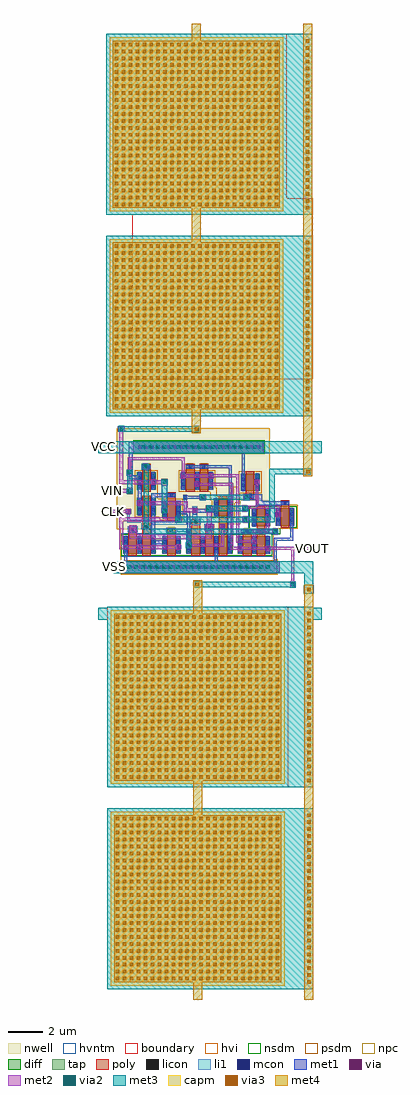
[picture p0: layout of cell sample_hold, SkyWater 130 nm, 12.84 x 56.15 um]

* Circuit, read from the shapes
.subckt sample_hold CLK VCC VIN VOUT VSS
XM1 n1 n2 VSS VSS sky130_fd_pr__nfet_g5v0d10v5 w=1 l=0.5
XM2 n3 CLK n1 VSS sky130_fd_pr__nfet_g5v0d10v5 w=1 l=0.5
XM3 n1 n4 n3 VSS sky130_fd_pr__nfet_g5v0d10v5 w=1 l=0.5
XM4 n5 VCC n4 VSS sky130_fd_pr__nfet_g5v0d10v5 w=1 l=0.5
XM5 VSS n2 n5 VSS sky130_fd_pr__nfet_g5v0d10v5 w=1 l=0.5
XM6 n6 n4 VSS VSS sky130_fd_pr__nfet_g5v0d10v5 w=1 l=0.5
XM7 VIN n4 VOUT VSS sky130_fd_pr__nfet_g5v0d10v5 w=1 l=0.5 m=2
XM8 VIN n4 n1 VSS sky130_fd_pr__nfet_g5v0d10v5 w=1 l=0.5
XM9 VSS CLK n2 VSS sky130_fd_pr__nfet_g5v0d10v5 w=1 l=0.5
XM10 n3 CLK VCC VCC sky130_fd_pr__pfet_g5v0d10v5 w=1 l=0.5
XM11 n7 n4 VCC VCC sky130_fd_pr__pfet_g5v0d10v5 w=1 l=0.5
XM12 n4 n3 n7 VCC sky130_fd_pr__pfet_g5v0d10v5 w=1 l=0.5
XM13 VOUT n6 VIN VCC sky130_fd_pr__pfet_g5v0d10v5 w=1 l=0.5 m=2
XM14 n6 n4 VCC VCC sky130_fd_pr__pfet_g5v0d10v5 w=1 l=0.5
XM15 n2 CLK VCC VCC sky130_fd_pr__pfet_g5v0d10v5 w=1 l=0.5
XC16 n7 n1 sky130_fd_pr__cap_mim_m3_1 w=10 l=10 m=2
XC17 VOUT VSS sky130_fd_pr__cap_mim_m3_1 w=10 l=10 m=2
.ends

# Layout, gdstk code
from math import pi, radians
import gdstk
lib = gdstk.Library(unit=1e-6, precision=1e-09)
def R(c, l, rs):  # rectangles x0, y0, x1, y1
    for r in rs: c.add(gdstk.rectangle(r[:2], r[2:], *l))
def A(c, l, x, y, w, h, nx, ny, dx, dy):  # array of equal rectangles
    R(c, l, [(x+i*dx, y+j*dy, x+i*dx+w, y+j*dy+h) for i in range(nx) for j in range(ny)])
nwell = (64, 20)
diff = (65, 20)
tap = (65, 44)
poly = (66, 20)
licon = (66, 44)
li1 = (67, 20)
mcon = (67, 44)
met1 = (68, 20)
via = (68, 44)
met2 = (69, 20)
via2 = (69, 44)
met3 = (70, 20)
via3 = (70, 44)
met4 = (71, 20)
hvi = (75, 20)
capm = (89, 44)
nsdm = (93, 44)
psdm = (94, 20)
npc = (95, 20)
hvntm = (125, 20)
boundary = (235, 4)

sky130_fd_pr__cap_mim_m3 = lib.new_cell('sky130_fd_pr__cap_mim_m3_1_3DGTNZ')
R(sky130_fd_pr__cap_mim_m3, met3, [(-5.93,-11,5.93,-0.6), (-5.93,0.6,5.93,11)])
A(sky130_fd_pr__cap_mim_m3, via3, 5.57, -10.7, 0.2, 0.2, 1, 25, 0, 0.4)
A(sky130_fd_pr__cap_mim_m3, via3, -5.43, -10.5, 0.2, 0.2, 24, 24, 0.4, 0.4)
A(sky130_fd_pr__cap_mim_m3, via3, 5.57, 0.9, 0.2, 0.2, 1, 25, 0, 0.4)
A(sky130_fd_pr__cap_mim_m3, via3, -5.43, 1.1, 0.2, 0.2, 24, 24, 0.4, 0.4)
R(sky130_fd_pr__cap_mim_m3, met4, [(-0.99,-11.6,-0.47,-10.605), (5.41,-11.6,5.93,11.6), (-5.535,-10.605,4.075,-0.995), (-0.99,-0.995,-0.47,0.995), (-5.535,0.995,4.075,10.605), (-0.99,10.605,-0.47,11.6)])
R(sky130_fd_pr__cap_mim_m3, capm, [(-5.73,-10.8,4.27,-0.8), (-5.73,0.8,4.27,10.8)])
R(sky130_fd_pr__cap_mim_m3, boundary, [(-5.93,0.6,4.47,11)])

sky130_fd_pr__nfet_g5v0d = lib.new_cell('sky130_fd_pr__nfet_g5v0d10v5_SACDK5')
R(sky130_fd_pr__nfet_g5v0d, diff, [(-0.54,-0.5,0.54,0.5)])
R(sky130_fd_pr__nfet_g5v0d, poly, [(-0.25,-0.63,0.25,0.63)])
A(sky130_fd_pr__nfet_g5v0d, licon, -0.48, -0.425, 0.17, 0.17, 1, 3, 0, 0.34)
A(sky130_fd_pr__nfet_g5v0d, licon, 0.31, -0.425, 0.17, 0.17, 1, 3, 0, 0.34)
R(sky130_fd_pr__nfet_g5v0d, li1, [(-0.48,-0.52,-0.31,0.52), (0.31,-0.52,0.48,0.52)])
R(sky130_fd_pr__nfet_g5v0d, mcon, [(-0.48,-0.265,-0.31,-0.095), (0.31,-0.265,0.48,-0.095), (-0.48,0.095,-0.31,0.265), (0.31,0.095,0.48,0.265)])
R(sky130_fd_pr__nfet_g5v0d, met1, [(-0.51,-0.5,-0.28,0.5), (0.28,-0.5,0.51,0.5)])
R(sky130_fd_pr__nfet_g5v0d, hvi, [(-0.725,-0.685,0.725,0.685)])
R(sky130_fd_pr__nfet_g5v0d, nsdm, [(-0.665,-0.625,0.665,0.625)])
R(sky130_fd_pr__nfet_g5v0d, hvntm, [(-0.725,-0.685,0.725,0.685)])

c_sky130_fd_pr__nfet_g5v0d = lib.new_cell('sky130_fd_pr__nfet_g5v0d10v5_LWV9XU')
R(c_sky130_fd_pr__nfet_g5v0d, diff, [(-0.935,-0.655,0.935,0.345)])
R(c_sky130_fd_pr__nfet_g5v0d, poly, [(-0.645,-0.785,-0.145,0.785), (0.145,-0.785,0.645,0.785)])
A(c_sky130_fd_pr__nfet_g5v0d, licon, -0.875, -0.58, 0.17, 0.17, 3, 3, 0.79, 0.34)
R(c_sky130_fd_pr__nfet_g5v0d, licon, [(-0.48,0.535,-0.31,0.705), (0.31,0.535,0.48,0.705)])
A(c_sky130_fd_pr__nfet_g5v0d, li1, -0.875, -0.675, 0.17, 1.04, 3, 1, 0.79, 0)
R(c_sky130_fd_pr__nfet_g5v0d, li1, [(-0.645,0.535,-0.145,0.705), (0.145,0.535,0.645,0.705)])
A(c_sky130_fd_pr__nfet_g5v0d, mcon, -0.875, -0.42, 0.17, 0.17, 3, 2, 0.79, 0.36)
R(c_sky130_fd_pr__nfet_g5v0d, mcon, [(-0.48,0.535,-0.31,0.705), (0.31,0.535,0.48,0.705)])
A(c_sky130_fd_pr__nfet_g5v0d, met1, -0.905, -0.655, 0.23, 1, 3, 1, 0.79, 0)
R(c_sky130_fd_pr__nfet_g5v0d, met1, [(-0.625,0.505,-0.165,0.735), (0.165,0.505,0.625,0.735)])
R(c_sky130_fd_pr__nfet_g5v0d, hvi, [(-1.12,-0.84,1.12,0.53)])
R(c_sky130_fd_pr__nfet_g5v0d, nsdm, [(-1.06,-0.78,1.06,0.47)])
R(c_sky130_fd_pr__nfet_g5v0d, npc, [(-0.58,0.435,-0.21,0.805), (0.21,0.435,0.58,0.805)])
R(c_sky130_fd_pr__nfet_g5v0d, hvntm, [(-1.12,-0.84,1.12,0.53)])

sky130_fd_pr__pfet_g5v0d = lib.new_cell('sky130_fd_pr__pfet_g5v0d10v5_NQ4LZ7')
R(sky130_fd_pr__pfet_g5v0d, nwell, [(-0.72,-0.81,0.72,0.81)])
R(sky130_fd_pr__pfet_g5v0d, diff, [(-0.54,-0.5,0.54,0.5)])
R(sky130_fd_pr__pfet_g5v0d, poly, [(-0.25,-0.63,0.25,0.63)])
A(sky130_fd_pr__pfet_g5v0d, licon, -0.48, -0.425, 0.17, 0.17, 1, 3, 0, 0.34)
A(sky130_fd_pr__pfet_g5v0d, licon, 0.31, -0.425, 0.17, 0.17, 1, 3, 0, 0.34)
R(sky130_fd_pr__pfet_g5v0d, li1, [(-0.48,-0.52,-0.31,0.52), (0.31,-0.52,0.48,0.52)])
R(sky130_fd_pr__pfet_g5v0d, mcon, [(-0.48,-0.265,-0.31,-0.095), (0.31,-0.265,0.48,-0.095), (-0.48,0.095,-0.31,0.265), (0.31,0.095,0.48,0.265)])
R(sky130_fd_pr__pfet_g5v0d, met1, [(-0.51,-0.5,-0.28,0.5), (0.28,-0.5,0.51,0.5)])
R(sky130_fd_pr__pfet_g5v0d, hvi, [(-0.72,-0.81,0.72,-0.685), (-0.725,-0.685,0.725,0.685), (-0.72,0.685,0.72,0.81)])
R(sky130_fd_pr__pfet_g5v0d, psdm, [(-0.665,-0.625,0.665,0.625)])

c_sky130_fd_pr__pfet_g5v0d = lib.new_cell('sky130_fd_pr__pfet_g5v0d10v5_YM4LZ5#0')
R(c_sky130_fd_pr__pfet_g5v0d, nwell, [(-0.72,-0.82,0.72,0.99)])
R(c_sky130_fd_pr__pfet_g5v0d, diff, [(-0.54,-0.32,0.54,0.68)])
R(c_sky130_fd_pr__pfet_g5v0d, poly, [(-0.25,-0.805,0.25,0.81)])
A(c_sky130_fd_pr__pfet_g5v0d, licon, -0.48, -0.245, 0.17, 0.17, 1, 3, 0, 0.34)
A(c_sky130_fd_pr__pfet_g5v0d, licon, 0.31, -0.245, 0.17, 0.17, 1, 3, 0, 0.34)
R(c_sky130_fd_pr__pfet_g5v0d, licon, [(-0.085,-0.725,0.085,-0.555)])
R(c_sky130_fd_pr__pfet_g5v0d, li1, [(-0.25,-0.725,0.25,-0.555), (-0.48,-0.34,-0.31,0.7), (0.31,-0.34,0.48,0.7)])
R(c_sky130_fd_pr__pfet_g5v0d, mcon, [(-0.085,-0.725,0.085,-0.555), (-0.48,-0.085,-0.31,0.085), (0.31,-0.085,0.48,0.085), (-0.48,0.275,-0.31,0.445), (0.31,0.275,0.48,0.445)])
R(c_sky130_fd_pr__pfet_g5v0d, met1, [(-0.23,-0.755,0.23,-0.525), (-0.51,-0.32,-0.28,0.68), (0.28,-0.32,0.51,0.68)])
R(c_sky130_fd_pr__pfet_g5v0d, hvi, [(-0.72,-0.82,0.72,-0.505), (-0.725,-0.505,0.725,0.865), (-0.72,0.865,0.72,0.99)])
R(c_sky130_fd_pr__pfet_g5v0d, psdm, [(-0.665,-0.445,0.665,0.805)])
R(c_sky130_fd_pr__pfet_g5v0d, npc, [(-0.185,-0.825,0.185,-0.455)])

c_sky130_fd_pr__pfet_g5v0d_ = lib.new_cell('sky130_fd_pr__pfet_g5v0d10v5_TUZSY8')
R(c_sky130_fd_pr__pfet_g5v0d_, nwell, [(-1.115,-0.99,1.115,0.82)])
R(c_sky130_fd_pr__pfet_g5v0d_, diff, [(-0.935,-0.68,0.935,0.32)])
R(c_sky130_fd_pr__pfet_g5v0d_, poly, [(-0.645,-0.81,-0.145,0.805), (0.145,-0.81,0.645,0.805)])
A(c_sky130_fd_pr__pfet_g5v0d_, licon, -0.875, -0.605, 0.17, 0.17, 3, 3, 0.79, 0.34)
R(c_sky130_fd_pr__pfet_g5v0d_, licon, [(-0.48,0.555,-0.31,0.725), (0.31,0.555,0.48,0.725)])
A(c_sky130_fd_pr__pfet_g5v0d_, li1, -0.875, -0.7, 0.17, 1.04, 3, 1, 0.79, 0)
R(c_sky130_fd_pr__pfet_g5v0d_, li1, [(-0.645,0.555,-0.145,0.725), (0.145,0.555,0.645,0.725)])
A(c_sky130_fd_pr__pfet_g5v0d_, mcon, -0.875, -0.445, 0.17, 0.17, 3, 2, 0.79, 0.36)
R(c_sky130_fd_pr__pfet_g5v0d_, mcon, [(-0.48,0.555,-0.31,0.725), (0.31,0.555,0.48,0.725)])
A(c_sky130_fd_pr__pfet_g5v0d_, met1, -0.905, -0.68, 0.23, 1, 3, 1, 0.79, 0)
R(c_sky130_fd_pr__pfet_g5v0d_, met1, [(-0.625,0.525,-0.165,0.755), (0.165,0.525,0.625,0.755)])
R(c_sky130_fd_pr__pfet_g5v0d_, hvi, [(-1.115,-0.99,1.115,-0.865), (-1.12,-0.865,1.12,0.505), (-1.115,0.505,1.115,0.82)])
R(c_sky130_fd_pr__pfet_g5v0d_, psdm, [(-1.06,-0.805,1.06,0.445)])
R(c_sky130_fd_pr__pfet_g5v0d_, npc, [(-0.58,0.455,-0.21,0.825), (0.21,0.455,0.58,0.825)])

c_sky130_fd_pr__cap_mim_m3 = lib.new_cell('sky130_fd_pr__cap_mim_m3_1_DMGF22')
R(c_sky130_fd_pr__cap_mim_m3, boundary, [(-5.2,-5.2,5.2,5.2)])

sample_hold = lib.new_cell('sample_hold')
R(sample_hold, nwell, [(3.355,-0.4,9.55,-0.11), (3.355,-0.11,10.5,1.25), (3.355,1.25,12.165,3.19), (3.35,3.19,12.165,5.425)])
R(sample_hold, tap, [(3.775,-2.82,12.435,-2.29), (4.42,4.065,11.755,4.595)])
R(sample_hold, poly, [(8.435,-0.83,8.935,-0.12), (9.225,-0.795,9.725,0.44), (4.81,-0.785,5.31,0.325), (7.645,-0.76,8.145,0.2), (4.02,-0.67,4.52,-0.225), (6.25,-0.665,6.75,-0.295), (12.785,0.87,13.285,1.27), (10.78,1.36,11.28,1.75)])
A(sample_hold, licon, 4.065, -2.65, 0.17, 0.17, 24, 1, 0.34, 0)
A(sample_hold, licon, 4.61, 4.25, 0.17, 0.17, 21, 1, 0.34, 0)
R(sample_hold, licon, [(6.415,-0.545,6.585,-0.375), (4.185,-0.475,4.355,-0.305), (8.6,-0.37,8.77,-0.2), (4.975,-0.325,5.145,-0.155), (9.36,-0.32,9.53,-0.15), (7.81,-0.05,7.98,0.12), (12.95,1.02,13.12,1.19), (10.945,1.41,11.115,1.58)])
R(sample_hold, li1, [(3.435,-2.92,12.72,-2.22), (6.215,-0.595,6.77,-0.545), (7.41,-0.59,7.585,-0.545), (4,-0.56,4.55,-0.525), (6.215,-0.545,7.585,-0.37), (3.99,-0.525,4.55,-0.235), (8.395,-0.46,8.965,-0.085), (4.76,-0.405,5.335,-0.13), (6.215,-0.37,6.77,-0.305), (9.28,-0.32,9.61,-0.15), (4,-0.235,4.55,-0.205), (7.645,-0.155,8.145,-0.1), (9.36,-0.15,9.535,-0.145), (4.76,-0.13,7.37,-0.005), (7.61,-0.1,8.175,0.19), (3.945,-0.005,7.37,0.04), (3.945,0.04,5.335,0.165), (7.2,0.04,7.37,1.535), (3.945,0.165,4.115,0.72), (7.645,0.19,8.145,0.22), (7.705,0.22,7.985,0.315), (7.71,0.315,7.985,0.93), (12.785,1.02,13.285,1.19), (10.78,1.41,11.28,1.58), (4.3,3.98,11.825,4.68)])
A(sample_hold, mcon, 4.015, -2.65, 0.17, 0.17, 23, 1, 0.36, 0)
A(sample_hold, mcon, 4.59, 4.25, 0.17, 0.17, 20, 1, 0.36, 0)
R(sample_hold, mcon, [(7.41,-0.55,7.58,-0.38), (4.205,-0.465,4.375,-0.295), (8.62,-0.36,8.79,-0.19), (9.36,-0.32,9.53,-0.15), (3.945,0.55,4.115,0.72), (7.76,0.59,7.93,0.76), (12.95,1.02,13.12,1.19), (7.2,1.365,7.37,1.535), (10.945,1.41,11.115,1.58)])
R(sample_hold, met1, [(3.435,-2.92,12.72,-2.22), (3.785,-2.22,3.96,-1.69), (8.995,-2.22,9.165,-1.74), (12.39,-2.22,12.56,-1.05), (11.17,-1.815,11.34,-1.255), (10.38,-1.745,10.55,-1.62), (10.305,-1.62,10.625,-1.36), (11.885,-1.62,12.205,-1.36), (4.5,-1.545,4.82,-1.285), (6.735,-1.545,7.055,-1.285), (7.34,-1.435,7.66,-1.175), (11.96,-1.36,12.13,-1.33), (5.34,-1.25,6.205,-1.02), (11.095,-1.22,11.415,-0.96), (7.41,-1.175,7.585,-0.58), (12.39,-1.05,13.515,-0.88), (5.34,-1.02,5.57,1.445), (11.17,-0.96,11.34,-0.845), (9.755,-0.915,9.985,0.69), (13.345,-0.88,13.515,-0.105), (12.32,-0.7,12.62,-0.61), (11.545,-0.61,12.62,-0.605), (10.495,-0.605,12.62,-0.43), (4.115,-0.585,4.465,-0.555), (7.35,-0.58,7.645,-0.345), (4.085,-0.555,4.465,-0.205), (8.53,-0.48,8.88,-0.45), (8.5,-0.45,8.88,-0.1), (12.32,-0.43,12.62,-0.34), (9.32,-0.39,9.58,-0.35), (9.3,-0.35,9.595,-0.115), (7.41,-0.345,7.585,0.47), (4.115,-0.205,4.465,-0.175), (9.32,-0.115,9.58,-0.07), (8.53,-0.1,8.88,-0.07), (12.55,-0.055,12.72,0.33), (10.605,-0.01,10.905,0.02), (10.605,0.02,11.325,0.32), (11.885,0.19,12.205,0.45), (10.605,0.32,10.905,0.35), (12.475,0.33,12.795,0.59), (6.005,0.43,6.2,0.555), (7.745,0.44,7.975,0.53), (11.96,0.45,12.13,0.715), (6.8,0.47,7.585,0.645), (3.915,0.49,4.145,0.505), (3.87,0.505,4.19,0.765), (7.73,0.53,7.99,0.56), (5.93,0.555,6.27,0.815), (7.73,0.56,9.175,0.79), (6.8,0.645,6.975,0.98), (3.915,0.765,4.145,0.78), (7.73,0.79,7.99,0.85), (6.05,0.815,6.175,1.005), (9.79,0.895,9.965,3.12), (4.505,0.98,4.825,1.24), (11.37,0.99,13.265,1.22), (11.37,1.22,11.74,1.305), (4.55,1.24,4.78,2.475), (10.655,1.275,10.955,1.305), (7.17,1.305,7.4,1.37), (10.655,1.305,11.74,1.635), (8.145,1.325,8.465,1.37), (7.17,1.37,8.465,1.54), (5.34,1.445,6.68,1.675), (7.17,1.54,7.4,1.595), (8.145,1.54,8.465,1.585), (10.66,1.635,11.13,1.64), (5.34,2.01,5.57,2.185), (7.09,2.02,7.265,2.535), (7.815,2.07,8.135,2.33), (11.295,2.16,11.555,2.235), (5.295,2.185,5.615,2.445), (11.295,2.235,11.59,2.405), (7.89,2.33,8.06,2.89), (11.295,2.405,11.555,2.48), (4.04,2.475,4.78,2.705), (7.02,2.535,7.34,2.795), (8.61,2.54,8.93,2.8), (10.55,2.64,10.72,3.98), (4.04,2.705,4.27,3.98), (7.09,2.795,7.265,2.88), (8.685,2.8,8.86,2.88), (4.88,3.05,5.14,3.095), (4.8,3.095,5.14,3.325), (7.335,3.12,9.965,3.295), (4.88,3.325,5.14,3.37), (4.04,3.98,11.825,4.68)])
A(sample_hold, via, 3.985, -2.64, 0.15, 0.15, 26, 1, 0.32, 0)
A(sample_hold, via, 4.66, 4.26, 0.15, 0.15, 22, 1, 0.32, 0)
R(sample_hold, via, [(10.39,-1.565,10.54,-1.415), (11.97,-1.565,12.12,-1.415), (4.585,-1.49,4.735,-1.34), (6.82,-1.49,6.97,-1.34), (7.425,-1.38,7.575,-1.23), (11.18,-1.165,11.33,-1.015), (12.395,-0.595,12.545,-0.445), (4.185,-0.455,4.335,-0.305), (8.6,-0.35,8.75,-0.2), (9.375,-0.305,9.525,-0.155), (10.68,0.095,10.83,0.245), (11.97,0.245,12.12,0.395), (12.56,0.385,12.71,0.535), (3.955,0.56,4.105,0.71), (6.025,0.61,6.175,0.76), (7.785,0.615,7.935,0.765), (4.59,1.035,4.74,1.185), (8.23,1.38,8.38,1.53), (10.73,1.38,10.88,1.53), (7.9,2.125,8.05,2.275), (5.38,2.24,5.53,2.39), (11.35,2.245,11.5,2.395), (7.105,2.59,7.255,2.74), (8.695,2.595,8.845,2.745), (4.935,3.135,5.085,3.285)])
R(sample_hold, met2, [(13.33,-3.77,13.63,-3.38), (13.395,-3.38,13.565,-1.575), (3.435,-2.92,12.72,-2.22), (10.335,-1.65,10.595,-1.575), (11.915,-1.65,12.175,-1.575), (4.53,-1.575,4.79,-1.53), (6.765,-1.575,7.025,-1.53), (9.9,-1.575,14.705,-1.405), (3.485,-1.53,7.025,-1.3), (7.355,-1.495,7.655,-1.39), (9.9,-1.405,10.07,2.115), (10.335,-1.405,10.595,-1.33), (11.915,-1.405,12.175,-1.33), (7.355,-1.39,9.54,-1.215), (3.485,-1.3,3.715,0.055), (4.53,-1.3,4.79,-1.255), (6.765,-1.3,7.025,-1.255), (11.125,-1.25,11.385,-1.175), (7.355,-1.215,7.655,-1.105), (9.365,-1.215,9.54,-0.36), (10.225,-1.175,11.44,-1.005), (10.225,-1.005,10.395,2.605), (11.125,-1.005,11.385,-0.93), (4.075,-0.955,8.82,-0.665), (11.175,-0.93,11.345,-0.55), (12.33,-0.705,12.61,-0.67), (12.29,-0.67,12.65,-0.37), (4.075,-0.665,4.495,-0.16), (8.53,-0.665,8.82,-0.485), (11.175,-0.55,12.13,-0.38), (8.455,-0.485,8.89,-0.42), (8.455,-0.42,8.97,-0.13), (11.96,-0.38,12.13,0.16), (12.33,-0.37,12.61,-0.335), (9.29,-0.36,9.61,-0.1), (8.455,-0.13,8.89,-0.12), (8.53,-0.12,8.82,0.655), (10.615,-0.015,10.895,0.02), (6.7,0.02,7.09,0.055), (10.575,0.02,10.935,0.32), (3.485,0.055,7.09,0.285), (11.915,0.16,12.175,0.48), (6.7,0.285,7.09,0.32), (12.505,0.3,12.765,0.62), (10.615,0.32,10.895,0.355), (3.9,0.475,4.16,0.55), (5.96,0.525,6.24,0.555), (3.13,0.55,4.16,0.72), (5.915,0.555,6.285,0.835), (7.7,0.56,8.02,0.575), (7.215,0.575,8.02,0.805), (10.575,0.62,10.855,0.655), (12.55,0.62,12.72,0.78), (8.48,0.655,8.87,0.955), (10.565,0.655,10.895,0.78), (3.9,0.72,4.16,0.795), (10.565,0.78,12.72,0.95), (7.215,0.805,7.445,0.995), (7.7,0.805,8.02,0.82), (5.96,0.835,6.24,0.845), (4.535,0.95,4.795,0.995), (10.565,0.95,10.895,0.955), (11.34,0.95,11.51,2.19), (10.575,0.955,10.855,0.99), (4.535,0.995,7.445,1.225), (4.535,1.225,4.795,1.27), (10.665,1.27,10.945,1.305), (8.175,1.295,8.435,1.305), (8.11,1.305,8.5,1.605), (10.625,1.305,10.985,1.605), (8.175,1.605,8.435,1.615), (10.665,1.605,10.945,1.64), (3.96,1.63,4.24,1.71), (3.015,1.71,4.24,1.925), (3.96,1.925,4.24,2), (7.845,2.04,8.105,2.115), (7.845,2.115,10.07,2.285), (5.95,2.12,6.25,2.2), (5.325,2.155,5.585,2.2), (11.265,2.19,11.585,2.45), (3.5,2.2,6.25,2.43), (7.845,2.285,8.105,2.36), (3.5,2.43,3.73,5.23), (5.325,2.43,5.585,2.475), (5.95,2.43,6.25,2.51), (7.05,2.505,7.31,2.58), (8.64,2.51,8.9,2.58), (7.05,2.58,8.9,2.605), (7.05,2.605,10.395,2.775), (3.95,2.67,4.25,3.06), (7.05,2.775,7.31,2.825), (8.64,2.775,8.9,2.83), (7.085,2.825,7.28,3.57), (4.86,3.015,5.16,3.08), (4,3.06,4.195,3.57), (4.85,3.08,5.17,3.34), (4.86,3.34,5.16,3.405), (4,3.57,7.28,3.765), (4.3,3.98,11.825,4.68), (3.42,5.23,3.81,5.53)])
A(sample_hold, via2, 3.96, -2.665, 0.2, 0.2, 21, 1, 0.4, 0)
A(sample_hold, via2, 4.795, 4.235, 0.2, 0.2, 17, 1, 0.4, 0)
R(sample_hold, via2, [(13.38,-3.675,13.58,-3.475), (7.405,-1.4,7.605,-1.2), (12.37,-0.62,12.57,-0.42), (6.795,0.07,6.995,0.27), (10.655,0.07,10.855,0.27), (6,0.595,6.2,0.795), (8.575,0.705,8.775,0.905), (10.615,0.705,10.815,0.905), (8.205,1.355,8.405,1.555), (10.705,1.355,10.905,1.555), (4,1.715,4.2,1.915), (6,2.215,6.2,2.415), (4,2.765,4.2,2.965), (4.91,3.11,5.11,3.31), (3.515,5.28,3.715,5.48)])
R(sample_hold, met3, [(2.3,-5.61,15.14,-4.91), (14.15,-4.115,14.67,-4.11), (14.125,-4.11,14.695,-3.6), (7.835,-3.765,8.155,-3.725), (13.305,-3.75,13.655,-3.725), (7.835,-3.725,13.655,-3.425), (14.15,-3.6,14.67,-2.92), (7.835,-3.425,8.155,-3.385), (13.305,-3.425,13.655,-3.4), (3.14,-2.92,14.67,-2.22), (7.33,-1.475,7.68,-1.125), (7.355,-1.125,7.655,-0.67), (12.305,-0.685,12.635,-0.67), (4.9,-0.67,12.635,-0.37), (4.9,-0.37,5.2,3.02), (12.305,-0.37,12.635,-0.355), (6.72,-0.005,7.07,0.02), (10.59,0.005,10.92,0.02), (6.72,0.02,12.44,0.32), (6.72,0.32,7.07,0.345), (10.59,0.32,10.92,0.335), (12.14,0.32,12.44,2.785), (5.935,0.53,6.265,0.86), (8.5,0.63,8.85,0.655), (10.55,0.64,10.88,0.655), (8.5,0.655,10.88,0.955), (5.95,0.86,6.25,2.14), (8.5,0.955,8.85,0.98), (10.55,0.955,10.88,0.97), (8.13,1.28,8.48,1.305), (10.64,1.29,10.97,1.305), (8.13,1.305,10.97,1.605), (8.13,1.605,8.48,1.63), (10.64,1.605,10.97,1.62), (3.935,1.65,4.265,1.98), (3.95,1.98,4.25,2.69), (5.925,2.14,6.275,2.49), (3.925,2.69,4.275,3.04), (14.185,2.745,14.505,2.785), (12.14,2.785,14.505,3.085), (4.8,3.02,5.22,3.39), (14.185,3.085,14.505,3.125), (2.3,3.98,15.14,4.68), (7.79,5.19,8.11,5.23), (3.44,5.205,3.79,5.23), (3.44,5.23,8.11,5.53), (3.44,5.53,3.79,5.555), (7.79,5.53,8.11,5.57)])
R(sample_hold, via3, [(14.31,-3.955,14.51,-3.755), (7.895,-3.675,8.095,-3.475), (14.245,2.835,14.445,3.035), (7.85,5.28,8.05,5.48)])
R(sample_hold, met4, [(7.75,-4.91,8.27,-3.33), (14.15,-4.765,14.67,-3.595), (14.08,2.655,14.6,6.115), (7.68,5.125,8.2,5.66), (7.8,5.66,8.1,6.115)])
R(sample_hold, hvi, [(3.59,-3.005,12.62,-2.105), (3.59,-2.105,12.375,-1.98), (3.545,-0.61,12.375,-0.41), (3.545,-0.41,10.925,-0.4), (3.355,-0.4,10.925,0.96), (3.355,0.96,12.31,1.005), (3.355,1.005,12.165,3.19), (3.35,3.19,12.165,5.425)])
R(sample_hold, nsdm, [(5.725,-1.92,5.835,-0.67), (7.165,-1.92,7.23,-0.67), (10.14,-1.92,10.195,-0.67), (12.315,-0.68,12.75,-0.67), (10.985,-0.67,12.75,-0.35), (12.315,-0.35,12.75,-0.305), (12.315,-0.305,12.37,0.9), (4.295,3.94,11.88,4.72)])
R(sample_hold, psdm, [(3.65,-2.945,12.56,-2.165), (5.725,0.285,5.835,1.365), (10.14,1.135,10.445,1.51), (8.73,1.28,8.81,1.51), (8.73,1.51,9.115,1.765), (10.06,1.51,10.445,1.69), (4.395,1.535,5.725,1.765), (10.06,1.69,10.365,2.065), (9.035,1.765,9.115,1.995)])
R(sample_hold, npc, [(6.315,-0.645,6.685,-0.275), (4.085,-0.575,4.455,-0.205), (8.5,-0.47,8.87,-0.1), (4.875,-0.425,5.245,-0.055), (9.26,-0.42,9.63,-0.05), (7.71,-0.15,8.08,0.22), (12.85,0.92,13.22,1.29), (10.845,1.31,11.215,1.68)])
R(sample_hold, hvntm, [(10.925,-0.61,12.375,-0.41)])
sample_hold.add(gdstk.Reference(sky130_fd_pr__cap_mim_m3, (8.74,-15.845)))
sample_hold.add(gdstk.Reference(sky130_fd_pr__nfet_g5v0d, (4.27,-1.295)))
sample_hold.add(gdstk.Reference(sky130_fd_pr__nfet_g5v0d, (5.06,-1.295)))
sample_hold.add(gdstk.Reference(sky130_fd_pr__nfet_g5v0d, (8.685,-1.295)))
sample_hold.add(gdstk.Reference(sky130_fd_pr__nfet_g5v0d, (6.5,-1.295)))
sample_hold.add(gdstk.Reference(sky130_fd_pr__nfet_g5v0d, (7.895,-1.295)))
sample_hold.add(gdstk.Reference(c_sky130_fd_pr__nfet_g5v0d, (11.255,-1.14)))
sample_hold.add(gdstk.Reference(sky130_fd_pr__nfet_g5v0d, (9.475,-1.295)))
sample_hold.add(gdstk.Reference(sky130_fd_pr__pfet_g5v0d, (5.06,0.91)))
sample_hold.add(gdstk.Reference(c_sky130_fd_pr__pfet_g5v0d, (5.06,2.57), rotation=pi))
sample_hold.add(gdstk.Reference(c_sky130_fd_pr__pfet_g5v0d, (6.5,0.92), rotation=pi))
sample_hold.add(gdstk.Reference(sky130_fd_pr__pfet_g5v0d, (9.475,0.885)))
sample_hold.add(gdstk.Reference(c_sky130_fd_pr__pfet_g5v0d_, (7.975,2.57)))
sample_hold.add(gdstk.Reference(sky130_fd_pr__nfet_g5v0d, (11.65,0.275)))
sample_hold.add(gdstk.Reference(sky130_fd_pr__pfet_g5v0d, (11.03,2.315)))
sample_hold.add(gdstk.Reference(sky130_fd_pr__nfet_g5v0d, (13.035,0.32)))
sample_hold.add(gdstk.Reference(c_sky130_fd_pr__cap_mim_m3, (9.44,13.44)))
sample_hold.add(gdstk.Reference(sky130_fd_pr__cap_mim_m3, (8.67,17.105)))
sample_hold.add(gdstk.Label('CLK', (3.185,0.625), layer=69, texttype=5))
sample_hold.add(gdstk.Label('VIN', (3.095,1.835), layer=69, texttype=5))
sample_hold.add(gdstk.Label('VOUT', (14.62,-1.505), layer=69, texttype=5))
sample_hold.add(gdstk.Label('VCC', (2.6,4.37), layer=70, texttype=5))
sample_hold.add(gdstk.Label('VSS', (3.245,-2.555), layer=70, texttype=5))

lib.write_gds('sample_hold.gds')
